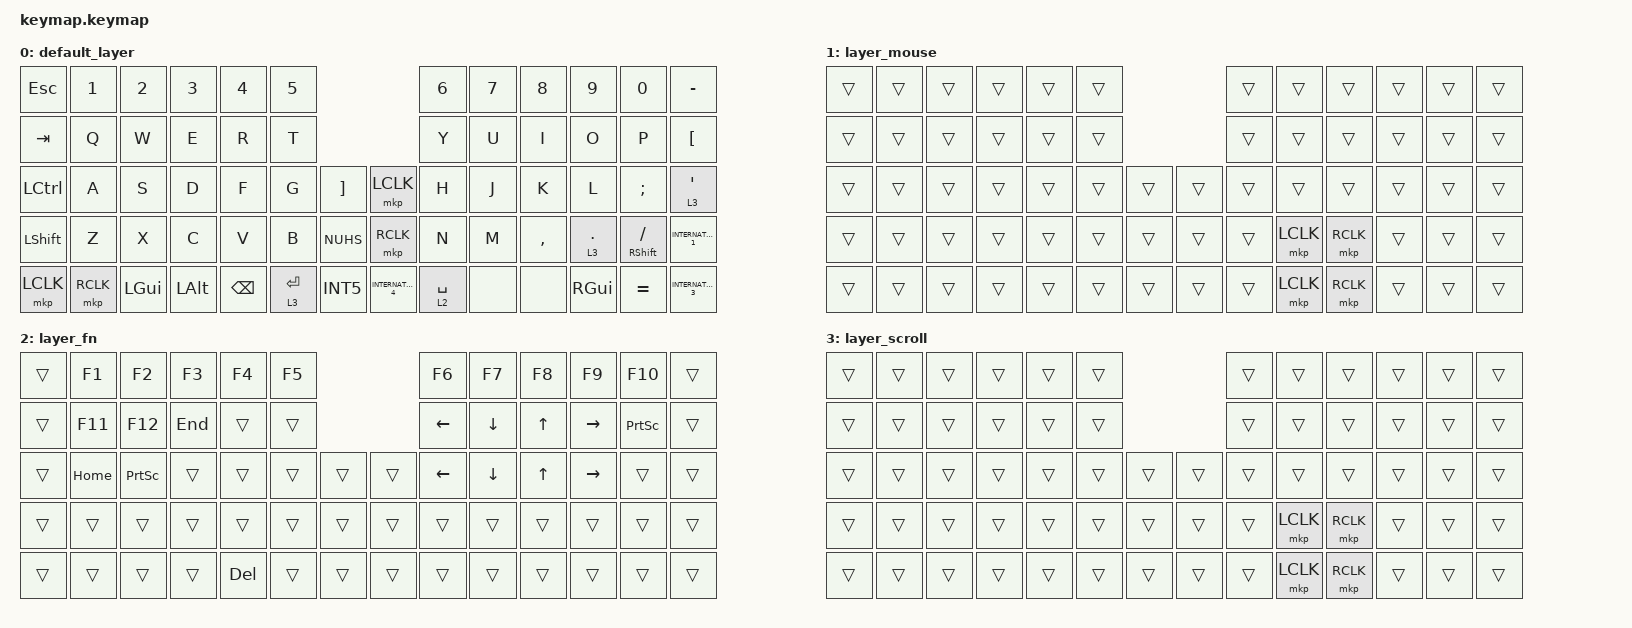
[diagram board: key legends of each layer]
#include <behaviors.dtsi>
#include <dt-bindings/zmk/bt.h>
#include <dt-bindings/zmk/keys.h>
#include <dt-bindings/zmk/pointing.h>

/ {
    combos {
        compatible = "zmk,combos";

        bt_clear {
            bindings = <&bt BT_CLR>;
            key-positions = <28 29>;
            layers = <2>;
        };
    };

    keymap {
        compatible = "zmk,keymap";


        default_layer {
            bindings = <
   &kp ESC     &kp N1    &kp N2    &kp N3    &kp N4       &kp N5                                               &kp N6  &kp N7     &kp N8    &kp N9                &kp N0            &kp MINUS
   &kp TAB      &kp Q     &kp W     &kp E     &kp R        &kp T                                                &kp Y   &kp U      &kp I     &kp O                 &kp P     &kp LEFT_BRACKET
 &kp LCTRL      &kp A     &kp S     &kp D     &kp F        &kp G  &kp RIGHT_BRACKET            &mkp LCLK        &kp H   &kp J      &kp K     &kp L              &kp SEMI            &lt 3 SQT
 &kp LSHFT      &kp Z     &kp X     &kp C     &kp V        &kp B           &kp NUHS            &mkp RCLK        &kp N   &kp M  &kp COMMA   &lt 3 DOT  &mt RIGHT_SHIFT FSLH  &kp INTERNATIONAL_1
 &mkp LCLK  &mkp RCLK  &kp LGUI  &kp LALT  &kp BSPC  &lt 3 ENTER           &kp INT5  &kp INTERNATIONAL_4  &lt 2 SPACE   &none      &none  &kp RGUI             &kp EQUAL  &kp INTERNATIONAL_3
            >;
        };

        layer_mouse {
            bindings = <
 &trans  &trans  &trans  &trans  &trans  &trans                  &trans     &trans     &trans  &trans  &trans  &trans
 &trans  &trans  &trans  &trans  &trans  &trans                  &trans     &trans     &trans  &trans  &trans  &trans
 &trans  &trans  &trans  &trans  &trans  &trans  &trans  &trans  &trans     &trans     &trans  &trans  &trans  &trans
 &trans  &trans  &trans  &trans  &trans  &trans  &trans  &trans  &trans  &mkp LCLK  &mkp RCLK  &trans  &trans  &trans
 &trans  &trans  &trans  &trans  &trans  &trans  &trans  &trans  &trans  &mkp LCLK  &mkp RCLK  &trans  &trans  &trans
            >;
        };

        layer_fn {
            bindings = <
 &trans    &kp F1           &kp F2   &kp F3      &kp F4  &kp F5                          &kp F6          &kp F7        &kp F8           &kp F9          &kp F10  &trans
 &trans   &kp F11          &kp F12  &kp END      &trans  &trans                  &kp LEFT_ARROW  &kp DOWN_ARROW  &kp UP_ARROW  &kp RIGHT_ARROW  &kp PRINTSCREEN  &trans
 &trans  &kp HOME  &kp PRINTSCREEN   &trans      &trans  &trans  &trans  &trans  &kp LEFT_ARROW  &kp DOWN_ARROW  &kp UP_ARROW  &kp RIGHT_ARROW           &trans  &trans
 &trans    &trans           &trans   &trans      &trans  &trans  &trans  &trans          &trans          &trans        &trans           &trans           &trans  &trans
 &trans    &trans           &trans   &trans  &kp DELETE  &trans  &trans  &trans          &trans          &trans        &trans           &trans           &trans  &trans
            >;
        };

        layer_scroll {
            bindings = <
 &trans  &trans  &trans  &trans  &trans  &trans                  &trans     &trans     &trans  &trans  &trans  &trans
 &trans  &trans  &trans  &trans  &trans  &trans                  &trans     &trans     &trans  &trans  &trans  &trans
 &trans  &trans  &trans  &trans  &trans  &trans  &trans  &trans  &trans     &trans     &trans  &trans  &trans  &trans
 &trans  &trans  &trans  &trans  &trans  &trans  &trans  &trans  &trans  &mkp LCLK  &mkp RCLK  &trans  &trans  &trans
 &trans  &trans  &trans  &trans  &trans  &trans  &trans  &trans  &trans  &mkp LCLK  &mkp RCLK  &trans  &trans  &trans
            >;
        };

    };
};
